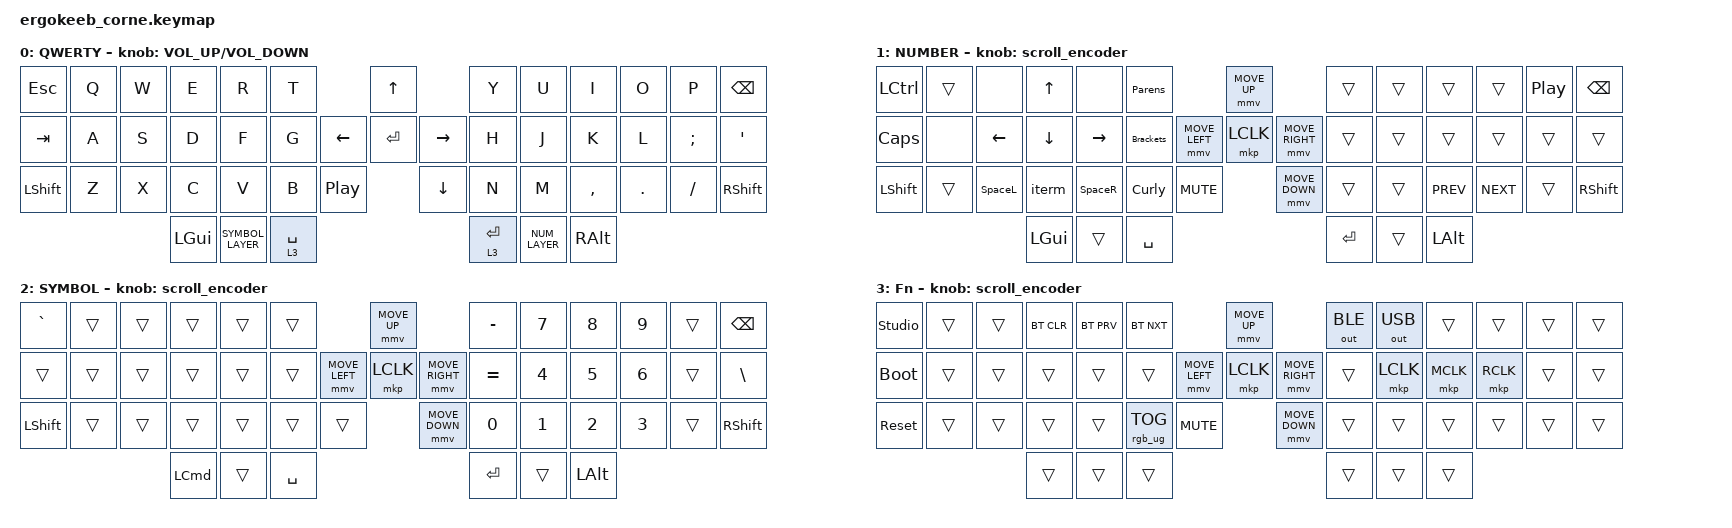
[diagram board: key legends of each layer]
#include <dt-bindings/zmk/mouse.h>
#include <input/processors.dtsi>
#include <behaviors.dtsi>
#include <dt-bindings/zmk/bt.h>
#include <dt-bindings/zmk/keys.h>
#include <dt-bindings/zmk/outputs.h>
#include <dt-bindings/zmk/pointing.h>
#include <dt-bindings/zmk/rgb.h>

/*

   &mmv_input_listener {
       input-processors = <&zip_xy_scaler 2 1>;
   };

   &msc_input_listener {
       input-processors = <&zip_xy_scaler 2 1>;
   };

 */

#define ZMK_MOUSE_DEFAULT_MOVE_VAL 1200  // 600
#define ZMK_MOUSE_DEFAULT_SCRL_VAL 20    // 10

/ {
    behaviors {
        td0: td0 {
            compatible = "zmk,behavior-tap-dance";
            display-name = "Shift/Caps Lock Tap Dance";
            #binding-cells = <0>;
            bindings = <&kp LEFT_SHIFT>, <&kp CAPS>;
        };

        Parens: Parens {
            compatible = "zmk,behavior-tap-dance";
            label = "PARENS";
            #binding-cells = <0>;
            bindings = <&kp LEFT_PARENTHESIS>, <&kp RIGHT_PARENTHESIS>;
        };

        Brackets: Brackets {
            compatible = "zmk,behavior-tap-dance";
            label = "BRACKETS";
            #binding-cells = <0>;
            bindings = <&kp LEFT_BRACKET>, <&kp RIGHT_BRACKET>;
        };

        Curly: Curly {
            compatible = "zmk,behavior-tap-dance";
            label = "CURLY";
            #binding-cells = <0>;
            bindings = <&kp LEFT_BRACE>, <&kp RIGHT_BRACE>;
        };

        shift_ctrl: shift_ctrl {
            compatible = "zmk,behavior-tap-dance";
            label = "SHIFT_CTRL";
            #binding-cells = <0>;
            bindings = <&kp LEFT_SHIFT>, <&kp LCTRL>;
        };
    };

    rgb_encoder: rgb_encoder {
        compatible = "zmk,behavior-sensor-rotate";
        #sensor-binding-cells = <0>;
        bindings = <&rgb_ug RGB_BRI>, <&rgb_ug RGB_BRD>;
    };

    scroll_encoder: scroll_encoder {
        compatible = "zmk,behavior-sensor-rotate";
        #sensor-binding-cells = <0>;
        bindings = <&msc SCRL_DOWN>, <&msc SCRL_UP>;

        tap-ms = <30>;
    };

    macros {
        SYMBOL_LAYER: SYMBOL_LAYER {
            compatible = "zmk,behavior-macro";
            #binding-cells = <0>;
            wait-ms = <0>;
            tap-ms = <0>;
            bindings =
                <&macro_press>,
                <&mo 1>,
                <&macro_tap>,
                <&rgb_ug RGB_COLOR_HSB(255,100,100)>,
                <&macro_tap>,
                <&rgb_ug RGB_ON>,
                <&macro_pause_for_release>,
                <&macro_release>,
                <&mo 1>,
                <&macro_tap>,
                <&rgb_ug RGB_OFF>;

            label = "SYMBOL_LAYER";
        };

        NUM_LAYER: NUM_LAYER {
            compatible = "zmk,behavior-macro";
            #binding-cells = <0>;
            wait-ms = <0>;
            tap-ms = <0>;
            bindings =
                <&macro_press>,
                <&mo 2>,
                <&macro_tap>,
                <&rgb_ug RGB_COLOR_HSB(235,100,100)>,
                <&macro_tap>,
                <&rgb_ug RGB_ON>,
                <&macro_pause_for_release>,
                <&macro_release>,
                <&mo 2>,
                <&macro_tap>,
                <&rgb_ug RGB_OFF>;

            label = "NUM_LAYER";
        };

        iterm: iterm {
            compatible = "zmk,behavior-macro";
            #binding-cells = <0>;
            bindings =
                <&macro_press>,
                <&kp LEFT_CONTROL>,
                <&macro_tap>,
                <&kp ESC>,
                <&macro_release>,
                <&kp LEFT_CONTROL>;

            label = "ITERM";
        };

        SpaceL: SpaceL {
            compatible = "zmk,behavior-macro";
            #binding-cells = <0>;
            bindings =
                <&macro_press>,
                <&kp LEFT_CONTROL>,
                <&macro_tap>,
                <&kp LEFT_ARROW>,
                <&macro_release>,
                <&kp LEFT_CONTROL>;

            label = "SPACEL";
        };

        SpaceR: SpaceR {
            compatible = "zmk,behavior-macro";
            #binding-cells = <0>;
            bindings =
                <&macro_press>,
                <&kp LEFT_CONTROL>,
                <&macro_tap>,
                <&kp RIGHT>,
                <&macro_release>,
                <&kp LEFT_CONTROL>;

            label = "SPACER";
        };
    };

    keymap {
        compatible = "zmk,keymap";

        default_layer {
            display-name = "QWERTY";
            bindings = <
&kp ESCAPE      &kp Q  &kp W  &kp E     &kp R          &kp T                                      &kp UP                &kp Y        &kp U       &kp I      &kp O    &kp P     &kp BSPC
&kp TAB         &kp A  &kp S  &kp D     &kp F          &kp G                            &kp LEFT  &kp ENTER  &kp RIGHT  &kp H        &kp J       &kp K      &kp L    &kp SEMI  &kp SQT
&kp LEFT_SHIFT  &kp Z  &kp X  &kp C     &kp V          &kp B        &kp C_PLAY_PAUSE              &kp DOWN              &kp N        &kp M       &kp COMMA  &kp DOT  &kp FSLH  &kp RIGHT_SHIFT
                              &kp LGUI  &SYMBOL_LAYER  &lt 3 SPACE                                                      &lt 3 ENTER  &NUM_LAYER  &kp RALT
            >;

            sensor-bindings = <&inc_dec_kp C_VOLUME_UP C_VOLUME_DOWN>;
        };

        lower_layer {
            display-name = "NUMBER";
            bindings = <
&kp LEFT_CONTROL  &trans  &none           &kp UP_ARROW  &none      &Parens                                  &mmv MOVE_UP                     &trans   &trans  &trans        &trans      &kp C_PLAY_PAUSE  &kp BSPC
&kp CAPS          &none   &kp LEFT_ARROW  &kp DOWN      &kp RIGHT  &Brackets                &mmv MOVE_LEFT  &mkp LCLK       &mmv MOVE_RIGHT  &trans   &trans  &trans        &trans      &trans            &trans
&kp LEFT_SHIFT    &trans  &SpaceL         &iterm        &SpaceR    &Curly     &kp C_MUTE                    &mmv MOVE_DOWN                   &trans   &trans  &kp C_PREV    &kp C_NEXT  &trans            &kp RIGHT_SHIFT
                                          &kp LEFT_GUI  &trans     &kp SPACE                                                                 &kp RET  &trans  &kp LEFT_ALT
            >;

            sensor-bindings = <&scroll_encoder>;
        };

        raise_layer {
            display-name = "SYMBOL";
            bindings = <
&kp GRAVE       &trans  &trans  &trans            &trans  &trans                               &mmv MOVE_UP                     &kp MINUS  &kp N7        &kp N8        &kp N9        &trans  &kp BSPC
&trans          &trans  &trans  &trans            &trans  &trans               &mmv MOVE_LEFT  &mkp LCLK       &mmv MOVE_RIGHT  &kp EQUAL  &kp NUMBER_4  &kp N5        &kp NUMBER_6  &trans  &kp BACKSLASH
&kp LEFT_SHIFT  &trans  &trans  &trans            &trans  &trans     &trans                    &mmv MOVE_DOWN                   &kp N0     &kp NUMBER_1  &kp NUMBER_2  &kp NUMBER_3  &trans  &kp RIGHT_SHIFT
                                &kp LEFT_COMMAND  &trans  &kp SPACE                                                             &kp RET    &trans        &kp LEFT_ALT
            >;

            sensor-bindings = <&scroll_encoder>;
        };

        layer_3 {
            display-name = "Fn";
            bindings = <
&studio_unlock  &trans  &trans  &bt BT_CLR  &bt BT_PRV  &bt BT_NXT                                     &mmv MOVE_UP                     &out OUT_BLE  &out OUT_USB  &trans     &trans     &trans  &trans
&bootloader     &trans  &trans  &trans      &trans      &trans                         &mmv MOVE_LEFT  &mkp LCLK       &mmv MOVE_RIGHT  &trans        &mkp LCLK     &mkp MCLK  &mkp RCLK  &trans  &trans
&sys_reset      &trans  &trans  &trans      &trans      &rgb_ug RGB_TOG  &kp C_MUTE                    &mmv MOVE_DOWN                   &trans        &trans        &trans     &trans     &trans  &trans
                                &trans      &trans      &trans                                                                          &trans        &trans        &trans
            >;

            sensor-bindings = <&scroll_encoder>;
        };
    };
};
